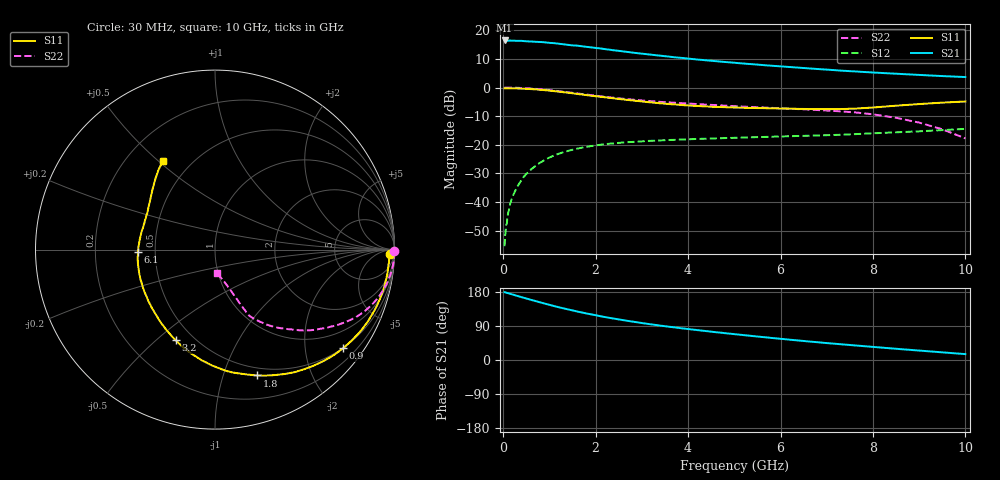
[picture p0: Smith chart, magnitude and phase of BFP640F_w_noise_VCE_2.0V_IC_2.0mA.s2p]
! Infineon Technologies  Discrete & RF Semiconductors
! BFP640F
! VCE =  2.0 V,  IC =  2.0 mA
! Common Emitter S-Parameters:  Apr 2013
# GHz  S  MA  R  50
!  f  S11  S21  S12  S22
! GHz  MAG  ANG  MAG  ANG  MAG  ANG  MAG  ANG
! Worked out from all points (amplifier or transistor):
!   99 points, 30 MHz to 10 GHz, reference 50 ohm
!   highest |S21| = 16.5 dB at 30 MHz (marker M1)
!   |S21| within 3 dB of that: start of sweep to 2.191 GHz
!   unconditionally stable (mu >= 1): 5.747 GHz to end of sweep
!   at 350 MHz: K = 0.01, MSG = 24.9 dB, |S12| = -33.4 dB
!   at 3.5 GHz: K = 0.68, MSG = 14.7 dB, |S12| = -18.4 dB
!   at 10 GHz: K = 1.21, MAG = 6.3 dB, |S12| = -14.4 dB
!   lowest NFmin = 0.46 dB at 450 MHz
!   S11 on the Smith chart (normalised r, x): 30 MHz: 43, -35; 900 MHz: 0.49, -2.86; 1.8 GHz: 0.42, -1.30; 3.2 GHz: 0.40, -0.58; 6.1 GHz: 0.40, -0.01; 10 GHz: 0.35, +0.52
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0.03  0.9726 -1.3  6.654 178.9  0.0017 95.2  0.999 -0.6
0.04  0.9736 -1.7  6.452 178.6  0.0026 88.1  0.9991 -0.9
0.05  0.9725 -2.1  6.565 178.4  0.0029 85.9  1 -1.2
0.09  0.9716 -3.7  6.586 176.7  0.0055 89.3  0.9983 -2.1
0.15  0.9702 -6.4  6.624 174.7  0.0094 88.3  0.997 -3.6
0.25  0.9669 -10.5  6.576 171.1  0.0152 86.5  0.9932 -5.9
0.4  0.9589 -16.9  6.541 165.7  0.0245 82.1  0.9824 -9.3
0.9  0.9013 -37.6  6.17 148.8  0.0547 70.2  0.9195 -20.2
1.1  0.867 -45.7  5.974 142.3  0.0651 65.2  0.8843 -24.2
1.3  0.8314 -53.3  5.717 136.4  0.0744 60.7  0.8473 -27.7
1.7  0.7569 -68.0  5.268 125.4  0.089 52.8  0.7726 -33.8
1.8  0.7395 -71.5  5.147 122.9  0.0922 51.1  0.7563 -35.3
2.1  0.6915 -81.9  4.828 115.6  0.1004 46.2  0.7058 -39.4
2.4  0.648 -91.0  4.472 109.1  0.1064 42.3  0.6627 -42.8
3.2  0.5502 -113.4  3.756 94.0  0.1177 34.7  0.5786 -49.4
3.4  0.5313 -118.6  3.609 90.7  0.1196 33.4  0.5628 -50.8
4.1  0.4821 -135.4  3.154 80.3  0.1259 29.8  0.5212 -54.3
5.1  0.4474 -158.2  2.67 67.0  0.1335 26.2  0.4703 -58.3
6.1  0.4306 -178.0  2.316 54.8  0.1409 24.1  0.4317 -61.4
6.7  0.4216 169.7  2.138 47.9  0.1452 23.2  0.4094 -62.8
8.5  0.4828 136.2  1.746 29.6  0.1654 21.8  0.2968 -66.4
10  0.572 120.6  1.527 15.5  0.19 19.2  0.1296 -85.8
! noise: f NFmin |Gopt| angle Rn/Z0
0.45  0.46  0.63  10  0.28
0.9  0.57  0.59  22  0.27
1.5  0.67  0.58  31  0.27
1.9  0.72  0.54  46  0.26
2.4  0.8  0.51  62  0.26
3.5  0.94  0.43  82  0.25
5.5  1.26  0.36  145  0.24
10  2.23  0.53  -110  0.45
